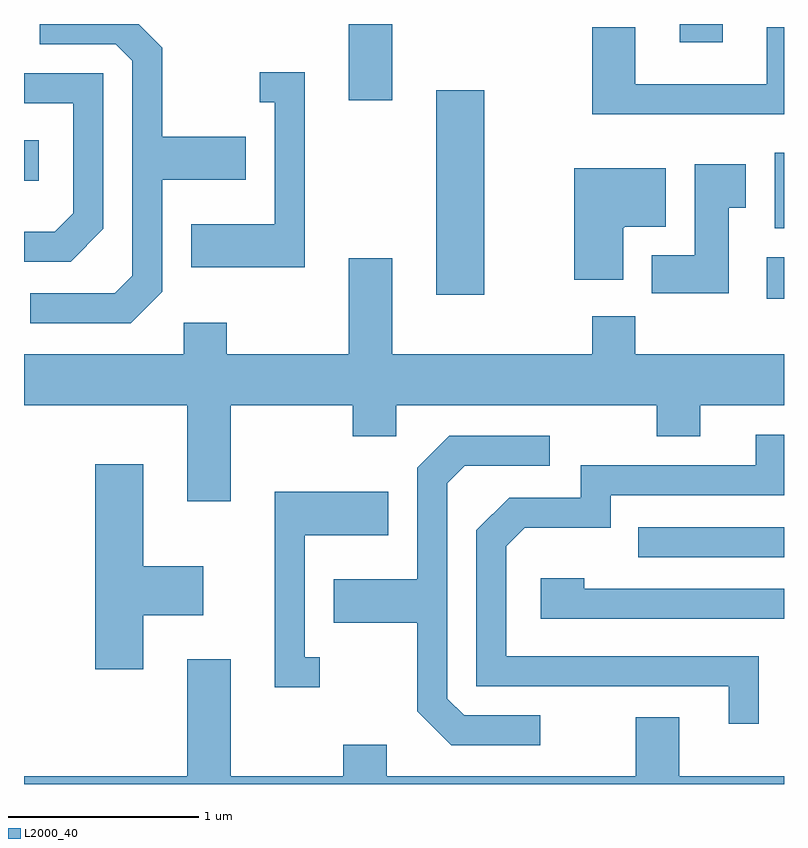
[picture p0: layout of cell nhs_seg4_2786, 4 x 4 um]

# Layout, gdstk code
import gdstk
lib = gdstk.Library(unit=1e-6, precision=1e-09)
def R(c, l, rs):  # rectangles x0, y0, x1, y1
    for r in rs: c.add(gdstk.rectangle(r[:2], r[2:], *l))
def P(c, l, *ps):  # polygons
    for p in ps: c.add(gdstk.Polygon(p, *l))
L2000_40 = (2000, 40)

nhs_seg4_2786 = lib.new_cell('nhs_seg4_2786')
R(nhs_seg4_2786, L2000_40, [(268.843,1387.176,269.611,1387.334), (269.521,1388.536,269.611,1388.754), (267.781,1388.556,268.034,1389.634), (269.561,1388.906,269.611,1389.304), (265.611,1389.156,265.689,1389.369), (267.321,1389.581,267.549,1389.982), (269.061,1389.886,269.289,1389.982)])
P(nhs_seg4_2786, L2000_40, [(266.339,1388.574),(266.339,1389.161),(266.779,1389.161),(266.779,1389.389),(266.339,1389.389),(266.339,1389.857),(266.214,1389.982),(265.693,1389.982),(265.693,1389.876),(266.094,1389.876),(266.181,1389.789),(266.181,1388.657),(266.089,1388.564),(265.643,1388.564),(265.643,1388.406),(266.172,1388.406)],
  [(269.611,1389.964),(269.521,1389.964),(269.521,1389.664),(268.829,1389.664),(268.829,1389.964),(268.601,1389.964),(268.601,1389.506),(269.611,1389.506)],
  [(267.089,1389.729),(266.853,1389.729),(266.853,1389.571),(266.931,1389.571),(266.931,1388.929),(266.491,1388.929),(266.491,1388.701),(267.089,1388.701)],
  [(266.029,1388.904),(266.029,1389.724),(265.611,1389.724),(265.611,1389.566),(265.871,1389.566),(265.871,1388.987),(265.774,1388.889),(265.611,1388.889),(265.611,1388.731),(265.857,1388.731)],
  [(269.319,1389.016),(269.409,1389.016),(269.409,1389.244),(269.141,1389.244),(269.141,1388.764),(268.916,1388.764),(268.916,1388.566),(269.319,1388.566)],
  [(268.764,1388.91),(268.77,1388.91),(268.77,1388.916),(268.989,1388.916),(268.989,1389.224),(268.506,1389.224),(268.506,1388.636),(268.764,1388.636)],
  [(266.699,1387.976),(267.341,1387.976),(267.341,1387.811),(267.569,1387.811),(267.569,1387.976),(268.941,1387.976),(268.941,1387.811),(269.169,1387.811),(269.169,1387.976),(269.611,1387.976),(269.611,1388.244),(268.829,1388.244),(268.829,1388.444),(268.601,1388.444),(268.601,1388.244),(267.549,1388.244),(267.549,1388.749),(267.321,1388.749),(267.321,1388.244),(266.679,1388.244),(266.679,1388.409),(266.451,1388.409),(266.451,1388.244),(265.611,1388.244),(265.611,1387.976),(266.471,1387.976),(266.471,1387.471),(266.699,1387.471)],
  [(269.479,1386.654),(268.149,1386.654),(268.149,1387.234),(268.247,1387.331),(268.699,1387.331),(268.699,1387.501),(269.611,1387.501),(269.611,1387.819),(269.461,1387.819),(269.461,1387.659),(268.541,1387.659),(268.541,1387.489),(268.164,1387.489),(267.991,1387.317),(267.991,1386.496),(269.321,1386.496),(269.321,1386.298),(269.479,1386.298)],
  [(268.328,1386.344),(267.927,1386.344),(267.839,1386.432),(267.839,1387.564),(267.932,1387.656),(268.378,1387.656),(268.378,1387.814),(267.849,1387.814),(267.681,1387.647),(267.681,1387.059),(267.241,1387.059),(267.241,1386.831),(267.681,1386.831),(267.681,1386.364),(267.859,1386.186),(268.328,1386.186)],
  [(266.239,1386.871),(266.554,1386.871),(266.554,1387.129),(266.239,1387.129),(266.239,1387.664),(265.986,1387.664),(265.986,1386.586),(266.239,1386.586)],
  [(267.168,1386.649),(267.089,1386.649),(267.089,1387.291),(267.529,1387.291),(267.529,1387.519),(266.931,1387.519),(266.931,1386.491),(267.168,1386.491)],
  [(269.611,1387.009),(268.559,1387.009),(268.559,1387.064),(268.331,1387.064),(268.331,1386.851),(269.611,1386.851)],
  [(269.611,1386.024),(269.059,1386.024),(269.059,1386.334),(268.831,1386.334),(268.831,1386.024),(267.519,1386.024),(267.519,1386.189),(267.291,1386.189),(267.291,1386.024),(266.699,1386.024),(266.699,1386.639),(266.471,1386.639),(266.471,1386.024),(265.611,1386.024),(265.611,1385.982),(269.611,1385.982)])

lib.write_gds('nhs_seg4_2786.gds')
